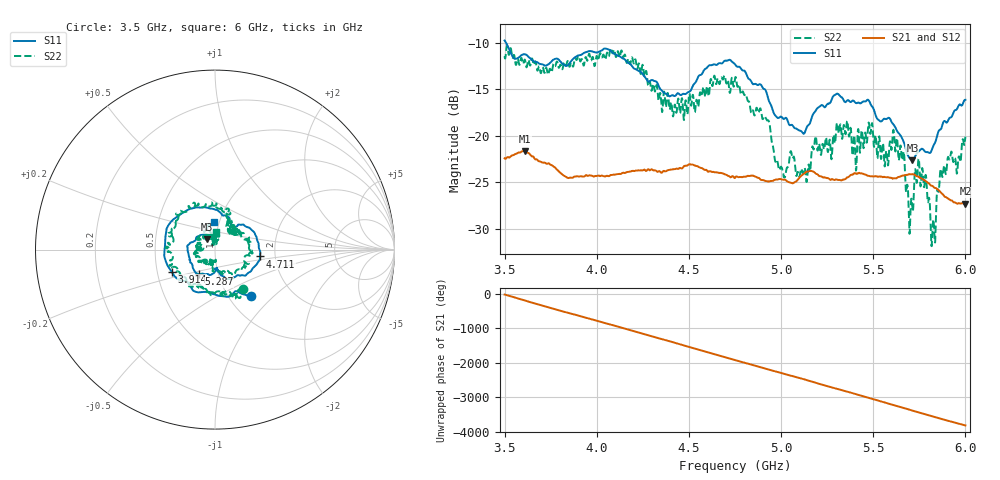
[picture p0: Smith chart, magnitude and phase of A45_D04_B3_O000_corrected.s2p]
! Created with skrf 1.9.0 (http://scikit-rf.org).
# Hz S RI R 50.0
!freq ReS11 ImS11 ReS21 ImS21 ReS12 ImS12 ReS22 ImS22
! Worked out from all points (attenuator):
!   1601 points, 3.5 GHz to 6 GHz, reference 50 ohm
!   highest |S21| = -21.66 dB at 3.609 GHz (marker M1); lowest = -27.3 dB at 6 GHz (marker M2)
!   lowest |S11| = -22.7 dB at 5.713 GHz (marker M3), VSWR 1.16, Z = 45.4 + j5.3 ohm
!   |S11| at or under -10 dB: 3.507 GHz to end of sweep
!   |S22| runs from -31.9 to -10.4 dB; largest |S21 - S12| = 0.00099
!   S11 on the Smith chart (normalised r, x): 3.5 GHz: 1.26, -0.73; 3.914 GHz: 0.59, -0.16; 4.711 GHz: 1.66, -0.13; 5.287 GHz: 0.81, -0.23; 6 GHz: 0.94, +0.30
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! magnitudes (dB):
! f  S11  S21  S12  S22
! 3.5 GHz  -9.8  -22.4  -22.4  -11.5
! 3.609 GHz  -11.3  -21.7  -21.7  -11.8
! 3.914 GHz  -11.3  -24.4  -24.3  -11.9
! 3.917 GHz  -11.3  -24.4  -24.3  -11.8
! 4.142 GHz  -11.7  -24.0  -24.0  -11.5
! 4.334 GHz  -14.6  -23.8  -23.8  -16.2
! 4.481 GHz  -15.5  -23.2  -23.2  -16.2
! 4.711 GHz  -11.9  -24.3  -24.2  -14.0
! 4.75 GHz  -12.3  -24.5  -24.4  -13.9
! 4.927 GHz  -15.8  -24.9  -24.9  -18.4
! 5.014 GHz  -18.2  -24.7  -24.6  -24.5
! 5.167 GHz  -18.0  -23.8  -23.8  -21.4
! 5.287 GHz  -15.7  -24.8  -24.7  -20.1
! 5.484 GHz  -16.6  -24.4  -24.3  -19.8
! 5.584 GHz  -18.1  -24.5  -24.4  -22.2
! 5.656 GHz  -20.3  -24.3  -24.2  -22.6
! 5.689 GHz  -22.2  -24.2  -24.1  -26.1
! 5.713 GHz  -22.7  -24.1  -24.1  -27.8
! 5.756 GHz  -21.5  -24.6  -24.5  -25.5
! 5.827 GHz  -21.1  -25.5  -25.4  -29.0
! 5.873 GHz  -19.0  -26.2  -26.2  -24.3
! 6 GHz  -16.1  -27.3  -27.2  -20.1
